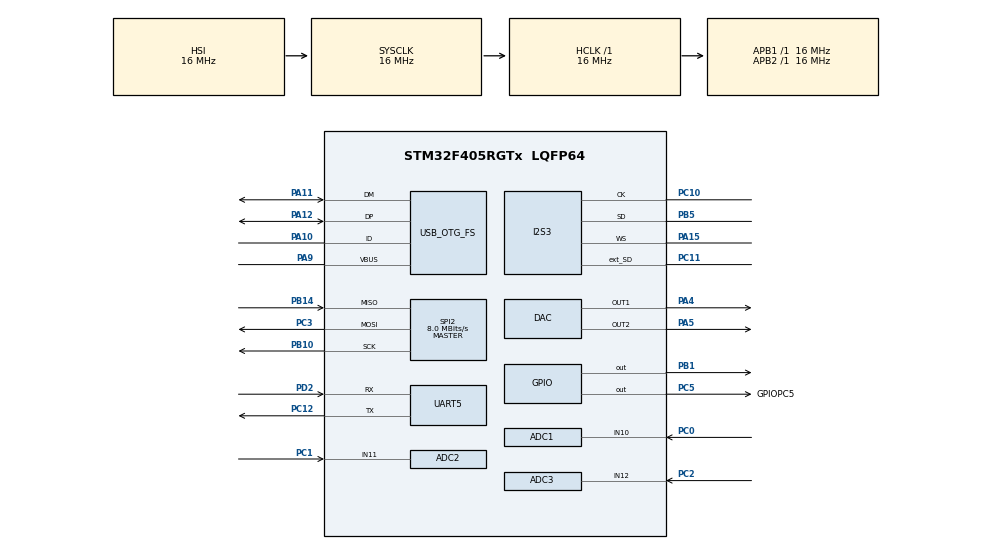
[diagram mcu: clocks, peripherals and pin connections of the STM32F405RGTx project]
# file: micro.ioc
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ADC1.Channel-0\#ChannelRegularConversion=ADC_CHANNEL_10
ADC1.ClockPrescaler=ADC_CLOCK_SYNC_PCLK_DIV2
ADC1.ContinuousConvMode=ENABLE
ADC1.DMAContinuousRequests=DISABLE
ADC1.EOCSelection=ADC_EOC_SEQ_CONV
ADC1.ExternalTrigConv=ADC_SOFTWARE_START
ADC1.ExternalTrigConvEdge=ADC_EXTERNALTRIGCONVEDGE_NONE
ADC1.NbrOfConversion=1
ADC1.NbrOfConversionFlag=1
ADC1.Rank-0\#ChannelRegularConversion=1
ADC1.SamplingTime-0\#ChannelRegularConversion=ADC_SAMPLETIME_3CYCLES
ADC1.ScanConvMode=ENABLE
ADC1.master=1
ADC2.Channel-0\#ChannelRegularConversion=ADC_CHANNEL_11
ADC2.ContinuousConvMode=ENABLE
ADC2.EOCSelection=ADC_EOC_SEQ_CONV
ADC2.NbrOfConversionFlag=1
ADC2.Rank-0\#ChannelRegularConversion=1
ADC2.SamplingTime-0\#ChannelRegularConversion=ADC_SAMPLETIME_3CYCLES
ADC2.ScanConvMode=ENABLE
ADC3.Channel-0\#ChannelRegularConversion=ADC_CHANNEL_12
ADC3.ContinuousConvMode=ENABLE
ADC3.EOCSelection=ADC_EOC_SEQ_CONV
ADC3.NbrOfConversionFlag=1
ADC3.Rank-0\#ChannelRegularConversion=1
ADC3.SamplingTime-0\#ChannelRegularConversion=ADC_SAMPLETIME_3CYCLES
ADC3.ScanConvMode=ENABLE
I2S3.ErrorAudioFreq=0.15 %
I2S3.FullDuplexMode=I2S_FULLDUPLEXMODE_ENABLE
I2S3.Instance=SPI$Index
I2S3.RealAudioFreq=8.012 KHz
I2S3.VirtualMode=I2S_MODE_MASTER
Mcu.Family=STM32F4
Mcu.Name=STM32F405RGTx
Mcu.Package=LQFP64
NVIC.PriorityGroup=NVIC_PRIORITYGROUP_4
NVIC.SPI2_IRQn=true\:0\:0\:false\:false\:true\:true\:true
NVIC.TIM1_BRK_TIM9_IRQn=true\:0\:0\:false\:false\:true\:true\:true
NVIC.UART5_IRQn=true\:0\:0\:false\:false\:true\:true\:true
PA0-WKUP.Mode=SYS_WakeUp0
PA0-WKUP.Signal=SYS_WKUP
PA10.Mode=OTG/Dual_Role_Device
PA10.Signal=USB_OTG_FS_ID
PA11.Mode=OTG/Dual_Role_Device
PA11.Signal=USB_OTG_FS_DM
PA12.Mode=OTG/Dual_Role_Device
PA12.Signal=USB_OTG_FS_DP
PA15.Mode=Full_Duplex_Master
PA15.Signal=I2S3_WS
PA4.Signal=COMP_DAC1_group
PA5.Signal=COMP_DAC2_group
PA9.Mode=Activate_VBUS
PA9.Signal=USB_OTG_FS_VBUS
PB1.Signal=GPIO_Output
PB10.Mode=Full_Duplex_Master
PB10.Signal=SPI2_SCK
PB14.Mode=Full_Duplex_Master
PB14.Signal=SPI2_MISO
PB5.Mode=Full_Duplex_Master
PB5.Signal=I2S3_SD
PC0.Signal=ADCx_IN10
PC1.Signal=ADCx_IN11
PC10.Mode=Full_Duplex_Master
PC10.Signal=I2S3_CK
PC11.Mode=Full_Duplex_Master
PC11.Signal=I2S3_ext_SD
PC12.Mode=Asynchronous
PC12.Signal=UART5_TX
PC2.Signal=ADCx_IN12
PC3.Mode=Full_Duplex_Master
PC3.Signal=SPI2_MOSI
PC5.GPIO_Label=GPIOPC5
PC5.GPIO_ModeDefaultOutputPP=GPIO_MODE_OUTPUT_PP
PC5.GPIO_PuPd=GPIO_NOPULL
PC5.PinState=GPIO_PIN_SET
PC5.Signal=GPIO_Output
PD2.Mode=Asynchronous
PD2.Signal=UART5_RX
PH0-OSC_IN.Mode=HSE-External-Oscillator
PH0-OSC_IN.Signal=RCC_OSC_IN
PH1-OSC_OUT.Mode=HSE-External-Oscillator
PH1-OSC_OUT.Signal=RCC_OSC_OUT
ProjectManager.HeapSize=0x200
ProjectManager.StackSize=0x400
ProjectManager.TargetToolchain=SW4STM32
RCC.48MHZClocksFreq_Value=48000000
RCC.AHBFreq_Value=16000000
RCC.APB1Freq_Value=16000000
RCC.APB1TimCLKDivider=1
RCC.APB1TimFreq_Value=16000000
RCC.APB2Freq_Value=16000000
RCC.APB2TimCLKDivider=2
RCC.APB2TimFreq_Value=32000000
RCC.CortexFreq_Value=16000000
RCC.HCLKFreq_Value=16000000
RCC.HSE_VALUE=25000000
RCC.HSI_VALUE=16000000
RCC.LSE_VALUE=32768
RCC.PLLI2SN=60
RCC.PLLM=15
RCC.PLLN=144
RCC.PLLQ=5
RCC.SYSCLKFreq_VALUE=16000000
RCC.VCOOutputFreq_Value=240000000
SH.ADCx_IN10.0=ADC1_IN10,IN10
SH.ADCx_IN11.0=ADC2_IN11,IN11
SH.ADCx_IN12.0=ADC3_IN12,IN12
SH.COMP_DAC1_group.0=DAC_OUT1,DAC_OUT1
SH.COMP_DAC2_group.0=DAC_OUT2,DAC_OUT2
SPI2.CalculateBaudRate=8.0 MBits/s
SPI2.Direction=SPI_DIRECTION_2LINES
SPI2.Mode=SPI_MODE_MASTER
SPI2.VirtualType=VM_MASTER
TIM9.Period=1
TIM9.Prescaler=1
UART5.VirtualMode=Asynchronous
VP_TIM9_VS_ClockSourceINT.Mode=Internal
board=custom

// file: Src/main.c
/* USER CODE BEGIN Header */
/**
  ******************************************************************************
  * @file           : main.c
  * @brief          : Main program body
  ******************************************************************************
  * @attention
  *
  * <h2><center>&copy; Copyright (c) 2019 STMicroelectronics.
  * All rights reserved.</center></h2>
  *
  * This software component is licensed by ST under BSD 3-Clause license,
  * the "License"; You may not use this file except in compliance with the
  * License. You may obtain a copy of the License at:
  *                        opensource.org/licenses/BSD-3-Clause
  *
  ******************************************************************************
  */
/* USER CODE END Header */

#include "main.h"

/* USER CODE BEGIN Includes */
#include "BT.h"
#include "audio.h"
#include "app.h"
#include "images.h"
#include "oled.h"

/* USER CODE END Includes */

ADC_HandleTypeDef hadc1;
ADC_HandleTypeDef hadc2;
ADC_HandleTypeDef hadc3;

DAC_HandleTypeDef hdac;

I2S_HandleTypeDef hi2s3;

SPI_HandleTypeDef hspi2;

TIM_HandleTypeDef htim9;

UART_HandleTypeDef huart5;

void SystemClock_Config(void);
static void MX_GPIO_Init(void);
static void MX_ADC3_Init(void);
static void MX_DAC_Init(void);
static void MX_I2S3_Init(void);
static void MX_SPI2_Init(void);
static void MX_UART5_Init(void);
static void MX_USB_OTG_FS_USB_Init(void);
static void MX_ADC1_Init(void);
static void MX_ADC2_Init(void);
static void MX_TIM9_Init(void);
/* USER CODE BEGIN PFP */

uint8_t input[1] = {0};
/* USER CODE END PFP */

/* USER CODE BEGIN 0 */
/*
void user_pwm_setvalue(uint16_t value)
{
    TIM_OC_InitTypeDef sConfigOC;

    sConfigOC.OCMode = TIM_OCMODE_PWM1;
    sConfigOC.Pulse = value;
    sConfigOC.OCPolarity = TIM_OCPOLARITY_HIGH;
    sConfigOC.OCFastMode = TIM_OCFAST_DISABLE;
    HAL_TIM_PWM_ConfigChannel(&htim2, &sConfigOC, TIM_CHANNEL_1);
    HAL_TIM_PWM_Start(&htim2, TIM_CHANNEL_1);
}
*/

void sendBack(uint8_t let){
	//uint8_t response[5] = "ACK\0\0";
	//response[3] = input;

	uint8_t resp[] = {'A','C','K',let,0};
//	HAL_UART_Transmit(huart5, "ACK", 3, 30);
	HAL_UART_Transmit(&huart5, resp, 5, 30);
}

void HAL_UART_RxCpltCallback(UART_HandleTypeDef *huart) {
	//huart->pRxBuffPtr[0];
	uint8_t let = input[0];
	switch(input[0]){
	case 'a':
		IMG_drawDickButt(); //arrived
		break;
	case 'b':
		IMG_turnLeft();
		break;
	case 'B':
		IMG_drawBoobs();
		break;
	case 'c':
		IMG_turnRight();
		break;
	case 'd':
		IMG_headNorth();
		break;
	case 'e':
		IMG_headEast();
		break;
	case 'f':
		IMG_headSouth();
		break;
	case 'g':
		IMG_headWest();
		break;
	case 'h':
		IMG_goStraight();
		break;
	case 'i':
		IMG_goStraight();
		break;
	}
	sendBack(let);

}

void HAL_TIM_PeriodElapsedCallback(TIM_HandleTypeDef *htim){
	ADCSampling(&hadc1, &hadc2, &hadc3, &hdac);
	HAL_UART_Receive_IT(&huart5, input, 1);
}

//void HAL_TIM_IRQHandler=(TIM_HandleTypeDef *htim){
//	 ADCSampling(&hadc1, &hadc2, &hadc3, &hdac);
//}

/* USER CODE END 0 */

int main(void)
{

  /* MCU Configuration--------------------------------------------------------*/

  /* Reset of all peripherals, Initializes the Flash interface and the Systick. */
  HAL_Init();

  /* Configure the system clock */
  SystemClock_Config();

  /* Initialize all configured peripherals */
  MX_GPIO_Init();
  MX_ADC3_Init();
  MX_DAC_Init();
  MX_I2S3_Init();
  MX_SPI2_Init();
  MX_UART5_Init();
  MX_USB_OTG_FS_USB_Init();
  MX_ADC1_Init();
  MX_ADC2_Init();
  MX_TIM9_Init();
  /* USER CODE BEGIN 2 */
  OLED_init();
  OLED_sendCommand(OLED_COMMAND_SLEEP_MODE_OFF);
  OLED_sendCommand(0xA5);
  OLED_sendCommand(0xA6);
  OLED_clear();
  //app_preloop(&huart5);

  /* USER CODE END 2 */

  /* Infinite loop */
  /* USER CODE BEGIN WHILE */
  //HAL_UART_Receive_IT(&huart5, input, 1);
  HAL_ADC_Start(&hadc1);
  HAL_ADC_Start(&hadc2);
  HAL_ADC_Start(&hadc3);
  HAL_DAC_Start(&hdac, DAC_CHANNEL_1);
  //HAL_TIM_PWM_Start(&htim2, TIM_CHANNEL_1);
  HAL_DAC_Start(&hdac, DAC_CHANNEL_2);
  HAL_TIM_Base_Start_IT(&htim9);
  //int pwm_value = 0;
  //int step = 0;

  OLED_sendCommand(0xAF); //next 4 lines may be reason for OLED halting
  //OLED_sendCommand(0xA5);
  OLED_clear();

  while (1)

  {
	  //OLED_sendCommand(0xAF);
	  //OLED_sendCommand(0xA6);
    /* USER CODE END WHILE */

    /* USER CODE BEGIN 3 */
	  HAL_UART_Receive_IT(&huart5, input, 1);

	  //oleditup(&huart5);
  }
  /* USER CODE END 3 */
}

void SystemClock_Config(void)
{
  RCC_OscInitTypeDef RCC_OscInitStruct = {0};
  RCC_ClkInitTypeDef RCC_ClkInitStruct = {0};
  RCC_PeriphCLKInitTypeDef PeriphClkInitStruct = {0};

  /** Configure the main internal regulator output voltage
  */
  __HAL_RCC_PWR_CLK_ENABLE();
  __HAL_PWR_VOLTAGESCALING_CONFIG(PWR_REGULATOR_VOLTAGE_SCALE1);
  /** Initializes the CPU, AHB and APB busses clocks
  */
  RCC_OscInitStruct.OscillatorType = RCC_OSCILLATORTYPE_HSI|RCC_OSCILLATORTYPE_HSE;
  RCC_OscInitStruct.HSEState = RCC_HSE_ON;
  RCC_OscInitStruct.HSIState = RCC_HSI_ON;
  RCC_OscInitStruct.HSICalibrationValue = RCC_HSICALIBRATION_DEFAULT;
  RCC_OscInitStruct.PLL.PLLState = RCC_PLL_ON;
  RCC_OscInitStruct.PLL.PLLSource = RCC_PLLSOURCE_HSE;
  RCC_OscInitStruct.PLL.PLLM = 15;
  RCC_OscInitStruct.PLL.PLLN = 144;
  RCC_OscInitStruct.PLL.PLLP = RCC_PLLP_DIV2;
  RCC_OscInitStruct.PLL.PLLQ = 5;
  if (HAL_RCC_OscConfig(&RCC_OscInitStruct) != HAL_OK)
  {
    Error_Handler();
  }
  /** Initializes the CPU, AHB and APB busses clocks
  */
  RCC_ClkInitStruct.ClockType = RCC_CLOCKTYPE_HCLK|RCC_CLOCKTYPE_SYSCLK
                              |RCC_CLOCKTYPE_PCLK1|RCC_CLOCKTYPE_PCLK2;
  RCC_ClkInitStruct.SYSCLKSource = RCC_SYSCLKSOURCE_HSI;
  RCC_ClkInitStruct.AHBCLKDivider = RCC_SYSCLK_DIV1;
  RCC_ClkInitStruct.APB1CLKDivider = RCC_HCLK_DIV1;
  RCC_ClkInitStruct.APB2CLKDivider = RCC_HCLK_DIV1;

  if (HAL_RCC_ClockConfig(&RCC_ClkInitStruct, FLASH_LATENCY_0) != HAL_OK)
  {
    Error_Handler();
  }
  PeriphClkInitStruct.PeriphClockSelection = RCC_PERIPHCLK_I2S;
  PeriphClkInitStruct.PLLI2S.PLLI2SN = 60;
  PeriphClkInitStruct.PLLI2S.PLLI2SR = 2;
  if (HAL_RCCEx_PeriphCLKConfig(&PeriphClkInitStruct) != HAL_OK)
  {
    Error_Handler();
  }
}

static void MX_ADC1_Init(void)
{

  ADC_ChannelConfTypeDef sConfig = {0};

  /** Configure the global features of the ADC (Clock, Resolution, Data Alignment and number of conversion)
  */
  hadc1.Instance = ADC1;
  hadc1.Init.ClockPrescaler = ADC_CLOCK_SYNC_PCLK_DIV2;
  hadc1.Init.Resolution = ADC_RESOLUTION_12B;
  hadc1.Init.ScanConvMode = ENABLE;
  hadc1.Init.ContinuousConvMode = ENABLE;
  hadc1.Init.DiscontinuousConvMode = DISABLE;
  hadc1.Init.ExternalTrigConvEdge = ADC_EXTERNALTRIGCONVEDGE_NONE;
  hadc1.Init.ExternalTrigConv = ADC_SOFTWARE_START;
  hadc1.Init.DataAlign = ADC_DATAALIGN_RIGHT;
  hadc1.Init.NbrOfConversion = 1;
  hadc1.Init.DMAContinuousRequests = DISABLE;
  hadc1.Init.EOCSelection = ADC_EOC_SEQ_CONV;
  if (HAL_ADC_Init(&hadc1) != HAL_OK)
  {
    Error_Handler();
  }
  /** Configure for the selected ADC regular channel its corresponding rank in the sequencer and its sample time.
  */
  sConfig.Channel = ADC_CHANNEL_10;
  sConfig.Rank = 1;
  sConfig.SamplingTime = ADC_SAMPLETIME_3CYCLES;
  if (HAL_ADC_ConfigChannel(&hadc1, &sConfig) != HAL_OK)
  {
    Error_Handler();
  }

}

static void MX_ADC2_Init(void)
{

  ADC_ChannelConfTypeDef sConfig = {0};

  /** Configure the global features of the ADC (Clock, Resolution, Data Alignment and number of conversion)
  */
  hadc2.Instance = ADC2;
  hadc2.Init.ClockPrescaler = ADC_CLOCK_SYNC_PCLK_DIV2;
  hadc2.Init.Resolution = ADC_RESOLUTION_12B;
  hadc2.Init.ScanConvMode = ENABLE;
  hadc2.Init.ContinuousConvMode = ENABLE;
  hadc2.Init.DiscontinuousConvMode = DISABLE;
  hadc2.Init.ExternalTrigConvEdge = ADC_EXTERNALTRIGCONVEDGE_NONE;
  hadc2.Init.ExternalTrigConv = ADC_SOFTWARE_START;
  hadc2.Init.DataAlign = ADC_DATAALIGN_RIGHT;
  hadc2.Init.NbrOfConversion = 1;
  hadc2.Init.DMAContinuousRequests = DISABLE;
  hadc2.Init.EOCSelection = ADC_EOC_SEQ_CONV;
  if (HAL_ADC_Init(&hadc2) != HAL_OK)
  {
    Error_Handler();
  }
  /** Configure for the selected ADC regular channel its corresponding rank in the sequencer and its sample time.
  */
  sConfig.Channel = ADC_CHANNEL_11;
  sConfig.Rank = 1;
  sConfig.SamplingTime = ADC_SAMPLETIME_3CYCLES;
  if (HAL_ADC_ConfigChannel(&hadc2, &sConfig) != HAL_OK)
  {
    Error_Handler();
  }

}

static void MX_ADC3_Init(void)
{

  ADC_ChannelConfTypeDef sConfig = {0};

  /** Configure the global features of the ADC (Clock, Resolution, Data Alignment and number of conversion)
  */
  hadc3.Instance = ADC3;
  hadc3.Init.ClockPrescaler = ADC_CLOCK_SYNC_PCLK_DIV2;
  hadc3.Init.Resolution = ADC_RESOLUTION_12B;
  hadc3.Init.ScanConvMode = ENABLE;
  hadc3.Init.ContinuousConvMode = ENABLE;
  hadc3.Init.DiscontinuousConvMode = DISABLE;
  hadc3.Init.ExternalTrigConvEdge = ADC_EXTERNALTRIGCONVEDGE_NONE;
  hadc3.Init.ExternalTrigConv = ADC_SOFTWARE_START;
  hadc3.Init.DataAlign = ADC_DATAALIGN_RIGHT;
  hadc3.Init.NbrOfConversion = 1;
  hadc3.Init.DMAContinuousRequests = DISABLE;
  hadc3.Init.EOCSelection = ADC_EOC_SEQ_CONV;
  if (HAL_ADC_Init(&hadc3) != HAL_OK)
  {
    Error_Handler();
  }
  /** Configure for the selected ADC regular channel its corresponding rank in the sequencer and its sample time.
  */
  sConfig.Channel = ADC_CHANNEL_12;
  sConfig.Rank = 1;
  sConfig.SamplingTime = ADC_SAMPLETIME_3CYCLES;
  if (HAL_ADC_ConfigChannel(&hadc3, &sConfig) != HAL_OK)
  {
    Error_Handler();
  }

}

static void MX_DAC_Init(void)
{

  DAC_ChannelConfTypeDef sConfig = {0};

  /** DAC Initialization
  */
  hdac.Instance = DAC;
  if (HAL_DAC_Init(&hdac) != HAL_OK)
  {
    Error_Handler();
  }
  /** DAC channel OUT1 config
  */
  sConfig.DAC_Trigger = DAC_TRIGGER_NONE;
  sConfig.DAC_OutputBuffer = DAC_OUTPUTBUFFER_ENABLE;
  if (HAL_DAC_ConfigChannel(&hdac, &sConfig, DAC_CHANNEL_1) != HAL_OK)
  {
    Error_Handler();
  }
  /** DAC channel OUT2 config
  */
  if (HAL_DAC_ConfigChannel(&hdac, &sConfig, DAC_CHANNEL_2) != HAL_OK)
  {
    Error_Handler();
  }

}

static void MX_I2S3_Init(void)
{

  hi2s3.Instance = SPI3;
  hi2s3.Init.Mode = I2S_MODE_MASTER_TX;
  hi2s3.Init.Standard = I2S_STANDARD_PHILIPS;
  hi2s3.Init.DataFormat = I2S_DATAFORMAT_16B;
  hi2s3.Init.MCLKOutput = I2S_MCLKOUTPUT_DISABLE;
  hi2s3.Init.AudioFreq = I2S_AUDIOFREQ_8K;
  hi2s3.Init.CPOL = I2S_CPOL_LOW;
  hi2s3.Init.ClockSource = I2S_CLOCK_PLL;
  hi2s3.Init.FullDuplexMode = I2S_FULLDUPLEXMODE_ENABLE;
  if (HAL_I2S_Init(&hi2s3) != HAL_OK)
  {
    Error_Handler();
  }

}

static void MX_SPI2_Init(void)
{

  /* SPI2 parameter configuration*/
  hspi2.Instance = SPI2;
  hspi2.Init.Mode = SPI_MODE_MASTER;
  hspi2.Init.Direction = SPI_DIRECTION_2LINES;
  hspi2.Init.DataSize = SPI_DATASIZE_8BIT;
  hspi2.Init.CLKPolarity = SPI_POLARITY_LOW;
  hspi2.Init.CLKPhase = SPI_PHASE_1EDGE;
  hspi2.Init.NSS = SPI_NSS_SOFT;
  hspi2.Init.BaudRatePrescaler = SPI_BAUDRATEPRESCALER_2;
  hspi2.Init.FirstBit = SPI_FIRSTBIT_MSB;
  hspi2.Init.TIMode = SPI_TIMODE_DISABLE;
  hspi2.Init.CRCCalculation = SPI_CRCCALCULATION_DISABLE;
  hspi2.Init.CRCPolynomial = 10;
  if (HAL_SPI_Init(&hspi2) != HAL_OK)
  {
    Error_Handler();
  }

}

static void MX_TIM9_Init(void)
{

  TIM_ClockConfigTypeDef sClockSourceConfig = {0};

  htim9.Instance = TIM9;
  htim9.Init.Prescaler = 1;
  htim9.Init.CounterMode = TIM_COUNTERMODE_UP;
  htim9.Init.Period = 1;
  htim9.Init.ClockDivision = TIM_CLOCKDIVISION_DIV1;
  htim9.Init.AutoReloadPreload = TIM_AUTORELOAD_PRELOAD_DISABLE;
  if (HAL_TIM_Base_Init(&htim9) != HAL_OK)
  {
    Error_Handler();
  }
  sClockSourceConfig.ClockSource = TIM_CLOCKSOURCE_INTERNAL;
  if (HAL_TIM_ConfigClockSource(&htim9, &sClockSourceConfig) != HAL_OK)
  {
    Error_Handler();
  }

}

static void MX_UART5_Init(void)
{

  huart5.Instance = UART5;
  huart5.Init.BaudRate = 115200;
  huart5.Init.WordLength = UART_WORDLENGTH_8B;
  huart5.Init.StopBits = UART_STOPBITS_1;
  huart5.Init.Parity = UART_PARITY_NONE;
  huart5.Init.Mode = UART_MODE_TX_RX;
  huart5.Init.HwFlowCtl = UART_HWCONTROL_NONE;
  huart5.Init.OverSampling = UART_OVERSAMPLING_16;
  if (HAL_UART_Init(&huart5) != HAL_OK)
  {
    Error_Handler();
  }

}

static void MX_USB_OTG_FS_USB_Init(void)
{

}

static void MX_GPIO_Init(void)
{
  GPIO_InitTypeDef GPIO_InitStruct = {0};

  /* GPIO Ports Clock Enable */
  __HAL_RCC_GPIOH_CLK_ENABLE();
  __HAL_RCC_GPIOC_CLK_ENABLE();
  __HAL_RCC_GPIOA_CLK_ENABLE();
  __HAL_RCC_GPIOB_CLK_ENABLE();
  __HAL_RCC_GPIOD_CLK_ENABLE();

  /*Configure GPIO pin Output Level */
  HAL_GPIO_WritePin(GPIOPC5_GPIO_Port, GPIOPC5_Pin, GPIO_PIN_SET);

  /*Configure GPIO pin Output Level */
  HAL_GPIO_WritePin(GPIOB, GPIO_PIN_1, GPIO_PIN_RESET);

  /*Configure GPIO pin : GPIOPC5_Pin */
  GPIO_InitStruct.Pin = GPIOPC5_Pin;
  GPIO_InitStruct.Mode = GPIO_MODE_OUTPUT_PP;
  GPIO_InitStruct.Pull = GPIO_NOPULL;
  GPIO_InitStruct.Speed = GPIO_SPEED_FREQ_LOW;
  HAL_GPIO_Init(GPIOPC5_GPIO_Port, &GPIO_InitStruct);

  /*Configure GPIO pin : PB1 */
  GPIO_InitStruct.Pin = GPIO_PIN_1;
  GPIO_InitStruct.Mode = GPIO_MODE_OUTPUT_PP;
  GPIO_InitStruct.Pull = GPIO_NOPULL;
  GPIO_InitStruct.Speed = GPIO_SPEED_FREQ_LOW;
  HAL_GPIO_Init(GPIOB, &GPIO_InitStruct);

  /*Configure GPIO pin : PA9 */
  GPIO_InitStruct.Pin = GPIO_PIN_9;
  GPIO_InitStruct.Mode = GPIO_MODE_INPUT;
  GPIO_InitStruct.Pull = GPIO_NOPULL;
  HAL_GPIO_Init(GPIOA, &GPIO_InitStruct);

  /*Configure GPIO pins : PA10 PA11 PA12 */
  GPIO_InitStruct.Pin = GPIO_PIN_10|GPIO_PIN_11|GPIO_PIN_12;
  GPIO_InitStruct.Mode = GPIO_MODE_AF_PP;
  GPIO_InitStruct.Pull = GPIO_NOPULL;
  GPIO_InitStruct.Speed = GPIO_SPEED_FREQ_VERY_HIGH;
  GPIO_InitStruct.Alternate = GPIO_AF10_OTG_FS;
  HAL_GPIO_Init(GPIOA, &GPIO_InitStruct);

}

void Error_Handler(void)
{
}

/************************ (C) COPYRIGHT STMicroelectronics *****END OF FILE****/
